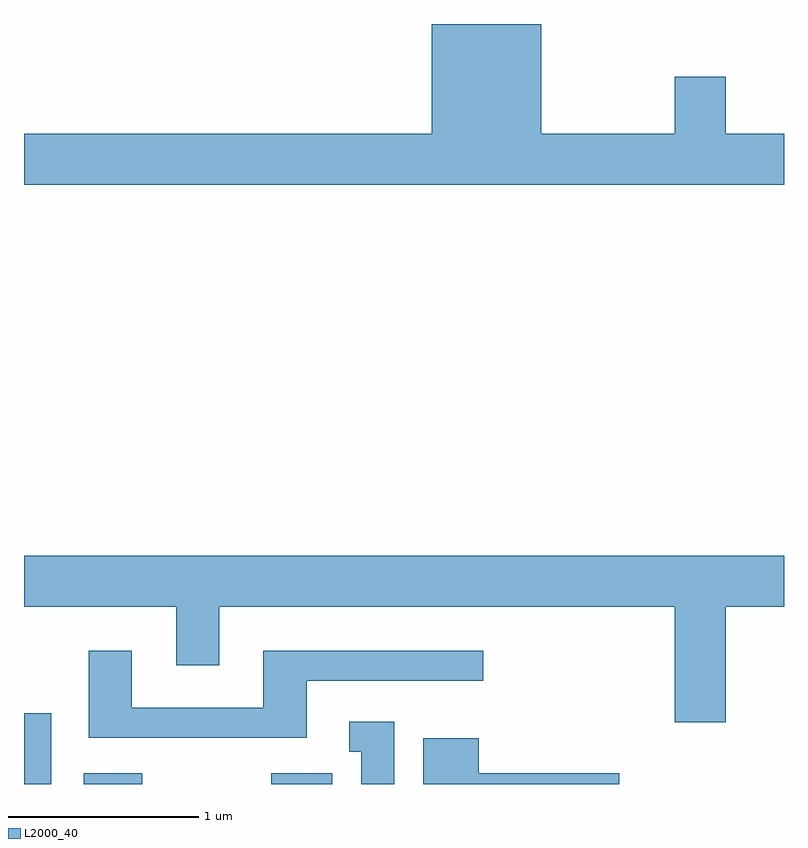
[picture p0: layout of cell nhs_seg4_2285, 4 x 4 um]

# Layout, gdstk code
import gdstk
lib = gdstk.Library(unit=1e-6, precision=1e-09)
def R(c, l, rs):  # rectangles x0, y0, x1, y1
    for r in rs: c.add(gdstk.rectangle(r[:2], r[2:], *l))
def P(c, l, *ps):  # polygons
    for p in ps: c.add(gdstk.Polygon(p, *l))
L2000_40 = (2000, 40)

nhs_seg4_2285 = lib.new_cell('nhs_seg4_2285')
R(nhs_seg4_2285, L2000_40, [(251.611,1335.982,251.754,1336.354), (251.926,1335.982,252.234,1336.039), (252.911,1335.982,253.234,1336.039)])
P(nhs_seg4_2285, L2000_40, [(255.611,1339.404),(255.304,1339.404),(255.304,1339.704),(255.036,1339.704),(255.036,1339.404),(254.334,1339.404),(254.334,1339.982),(253.756,1339.982),(253.756,1339.404),(251.611,1339.404),(251.611,1339.136),(255.611,1339.136)],
  [(255.304,1336.916),(255.611,1336.916),(255.611,1337.184),(251.611,1337.184),(251.611,1336.916),(252.411,1336.916),(252.411,1336.606),(252.639,1336.606),(252.639,1336.916),(255.036,1336.916),(255.036,1336.306),(255.304,1336.306)],
  [(253.099,1336.526),(254.028,1336.526),(254.028,1336.684),(252.871,1336.684),(252.871,1336.384),(252.179,1336.384),(252.179,1336.684),(251.951,1336.684),(251.951,1336.226),(253.099,1336.226)],
  [(253.559,1336.309),(253.323,1336.309),(253.323,1336.151),(253.386,1336.151),(253.386,1335.982),(253.559,1335.982)],
  [(254.744,1336.039),(254.004,1336.039),(254.004,1336.224),(253.711,1336.224),(253.711,1335.982),(254.744,1335.982)])

lib.write_gds('nhs_seg4_2285.gds')
